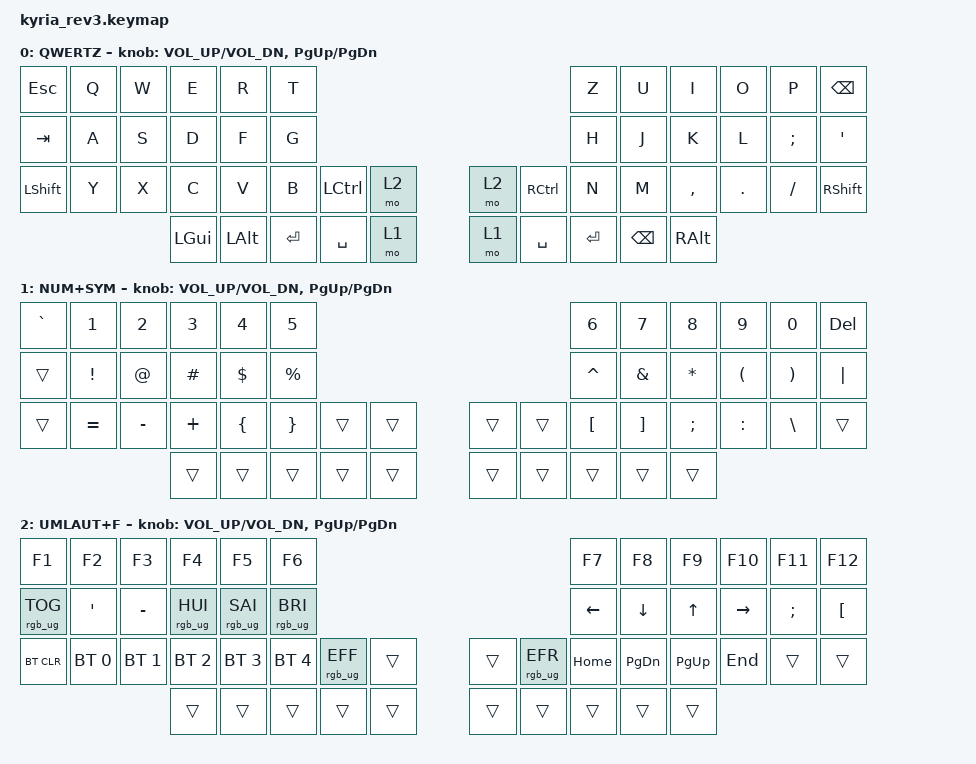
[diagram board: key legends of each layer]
/*
 * Copyright (c) 2023 The ZMK Contributors
 *
 * SPDX-License-Identifier: MIT
 */

#include <behaviors.dtsi>
#include <dt-bindings/zmk/bt.h>
#include <dt-bindings/zmk/keys.h>
#include <dt-bindings/zmk/rgb.h>

&led_strip {
    //chain-length = <6>;
    chain-length = <31>; // Uncomment if using both per-key and underglow LEDs
    // chain-length = <25>; // Uncomment if using only per-key LEDs.
};

&left_encoder {
    status = "okay";
};

&right_encoder {
    status = "okay";
};

/ {
    chosen {
        zmk,kscan = &kscan0;
        zmk,matrix-transform = &default_transform;
    };
    
    keymap {
        compatible = "zmk,keymap";

        default_layer {
            display-name = "QWERTZ";
            // ---------------------------------------------------------------------------------------------------------------------------------
            // |  ESC  |  Q  |  W  |  E   |  R   |  T   |                                          |  Z   |  U    |  I    |  O   |   P   |  BSPC |
            // |  TAB  |  A  |  S  |  D   |  F   |  G   |                                          |  H   |  J    |  K    |  L   |   Ö   |   Ä   |
            // | SHIFT |  Y  |  X  |  C   |  V   |  B   |  LCTRL  |   L2    |  |   L2    |  RCTRL  |  N   |  M    |  ,    |  .   |   -   |  SHIFT|
            //                     | GUI  | ALT  | RET  |  SPACE  |   L1    |  |   L1    |  SPACE  | RET  | BSPC  | R-ALT |
            bindings = <
            &kp ESC   &kp Q &kp W &kp E &kp R &kp T                                                &kp Z &kp U  &kp I     &kp O   &kp P    &kp BSPC
            &kp TAB   &kp A &kp S &kp D &kp F &kp G                                                &kp H &kp J  &kp K     &kp L   &kp SEMI &kp SQT
            &kp LSHFT &kp Y &kp X &kp C &kp V &kp B &kp LCTRL &mo 2              &mo 2   &kp RCTRL &kp N &kp M  &kp COMMA &kp DOT &kp FSLH &kp RSHFT
                                  &kp LGUI &kp LALT &kp RET &kp SPACE &mo 1      &mo 1 &kp SPACE &kp RET &kp BSPC &kp RALT
            >;

            sensor-bindings = <&inc_dec_kp C_VOL_UP C_VOL_DN &inc_dec_kp PG_UP PG_DN>;
        };
        
        number_symbol_layer {
            display-name = "NUM+SYM";
            // ---------------------------------------------------------------------------------------------------------------------------------
            // |   `   |  1  |  2  |  3   |  4   |  5   |                                          |  6   |  7    |  8    |  9   |   0   |  DEL  |
            // |       |  !  |  @  |  #   |  $   |  %   |                                          |  ^   |  &    |  *    |  (   |   )   |   |   |
            // | SHIFT |  =  |  -  |  +   |  {   |  }   |         |         |  |         |         |  [   |  ]    |  ;    |  :   |   \   | SHIFT |
            //                     |      |      |      |         |         |  |         |         |      |       |       |
            bindings = <
            &kp GRAVE &kp N1    &kp N2    &kp N3    &kp N4   &kp N5                                      &kp N6   &kp N7   &kp N8    &kp N9    &kp N0   &kp DEL
            &trans    &kp EXCL  &kp AT    &kp HASH  &kp DLLR &kp PRCNT                                   &kp CARET &kp AMPS &kp STAR &kp LPAR  &kp RPAR &kp PIPE
            &trans    &kp EQUAL &kp MINUS &kp PLUS  &kp LBRC &kp RBRC &trans &trans        &trans &trans &kp LBKT &kp RBKT &kp SEMI  &kp COLON &kp BSLH &trans
                                          &trans &trans &trans &trans &trans               &trans &trans &trans &trans &trans
            >;

            sensor-bindings = <&inc_dec_kp C_VOL_UP C_VOL_DN &inc_dec_kp PG_UP PG_DN>;
        };

        umlaut_function_layer {
            display-name = "UMLAUT+F";
            // ---------------------------------------------------------------------------------------------------------------------------------
            // |  F1   | F2  | F3  |  F4  |  F5  |  F6  |                                          | F7   |  F8   |  F9   | F10  |  F11  |  F12  |
            // |RGB TOG| Ä   |  ß  |RGB HU|RGB SA|RGB BR|                                          | LEFT | DOWN  |  UP   | RIGHT|   Ö   |   Ü   |
            // | BTCLR | BT1 | BT2 | BT3  | BT4  | BT5  |RGB EFF  |         |  |         |RGB EFR  | HOME | PGDN  | PGUP  | END  |       |       |
            //                     |      |      |      |         |         |  |         |         |      |       |       |
            bindings = <
            &kp F1       &kp F2        &kp F3        &kp F4           &kp F5           &kp F6                                             &kp F7   &kp F8    &kp F9   &kp F10   &kp F11  &kp F12
            &rgb_ug RGB_TOG &kp SQT    &kp MINUS     &rgb_ug RGB_HUI  &rgb_ug RGB_SAI  &rgb_ug RGB_BRI                                    &kp LEFT &kp DOWN  &kp UP   &kp RIGHT &kp SEMI &kp LBKT
            &bt BT_CLR   &bt BT_SEL 0  &bt BT_SEL 1  &bt BT_SEL 2  &bt BT_SEL 3  &bt BT_SEL 4 &rgb_ug RGB_EFF &trans   &trans &rgb_ug RGB_EFR &kp HOME &kp PG_DN &kp PG_UP &kp END  &trans   &trans
                                                     &trans &trans &trans &trans &trans              &trans &trans &trans &trans &trans
            >;

            sensor-bindings = <&inc_dec_kp C_VOL_UP C_VOL_DN &inc_dec_kp PG_UP PG_DN>;
        };
    };
};
